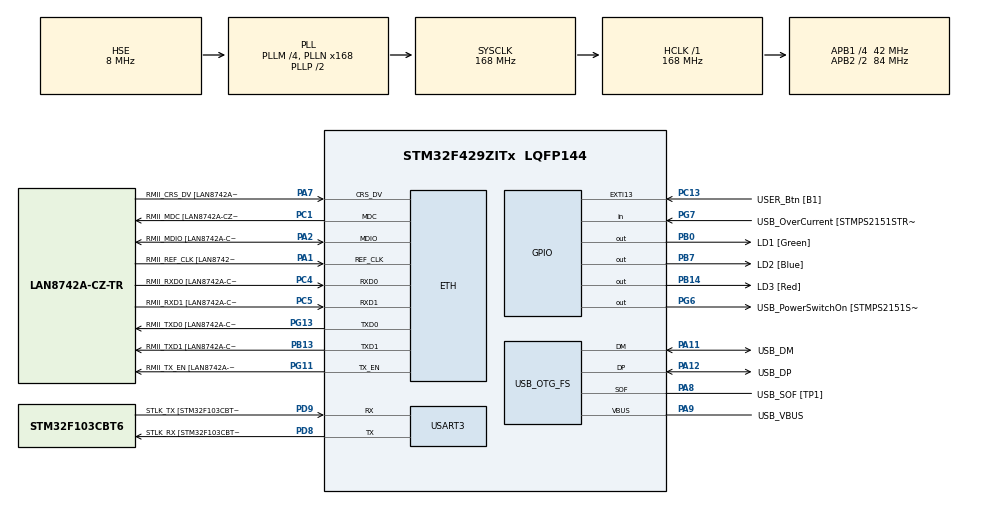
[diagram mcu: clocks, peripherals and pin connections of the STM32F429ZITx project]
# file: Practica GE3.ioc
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ETH.MediaInterface=HAL_ETH_RMII_MODE
ETH.PHY_Name=LAN8742A_PHY_ADDRESS
ETH.PHY_Value=0
ETH.PhyAddress=0
Mcu.Family=STM32F4
Mcu.Name=STM32F429ZITx
Mcu.Package=LQFP144
NVIC.PriorityGroup=NVIC_PRIORITYGROUP_4
PA1.GPIO_Label=RMII_REF_CLK [LAN8742A-CZ-TR_REFCLK0]
PA1.Mode=RMII
PA1.Signal=ETH_REF_CLK
PA10.GPIO_Label=USB_ID
PA10.Signal=USB_OTG_FS_ID
PA11.GPIO_Label=USB_DM
PA11.Mode=Device_Only
PA11.Signal=USB_OTG_FS_DM
PA12.GPIO_Label=USB_DP
PA12.Mode=Device_Only
PA12.Signal=USB_OTG_FS_DP
PA13.GPIO_Label=TMS
PA13.Mode=Serial_Wire
PA13.Signal=SYS_JTMS-SWDIO
PA14.GPIO_Label=TCK
PA14.Mode=Serial_Wire
PA14.Signal=SYS_JTCK-SWCLK
PA2.GPIO_Label=RMII_MDIO [LAN8742A-CZ-TR_MDIO]
PA2.Mode=RMII
PA2.Signal=ETH_MDIO
PA7.GPIO_Label=RMII_CRS_DV [LAN8742A-CZ-TR_CRS_DV]
PA7.Mode=RMII
PA7.Signal=ETH_CRS_DV
PA8.GPIO_Label=USB_SOF [TP1]
PA8.Mode=Activate_SOF_FS
PA8.Signal=USB_OTG_FS_SOF
PA9.GPIO_Label=USB_VBUS
PA9.Mode=Activate_VBUS
PA9.Signal=USB_OTG_FS_VBUS
PB0.GPIO_Label=LD1 [Green]
PB0.Signal=GPIO_Output
PB13.GPIO_Label=RMII_TXD1 [LAN8742A-CZ-TR_TXD1]
PB13.Mode=RMII
PB13.Signal=ETH_TXD1
PB14.GPIO_Label=LD3 [Red]
PB14.Signal=GPIO_Output
PB7.GPIO_Label=LD2 [Blue]
PB7.Signal=GPIO_Output
PC1.GPIO_Label=RMII_MDC [LAN8742A-CZ-TR_MDC]
PC1.Mode=RMII
PC1.Signal=ETH_MDC
PC13.GPIO_Label=USER_Btn [B1]
PC13.Signal=GPXTI13
PC14/OSC32_IN.Mode=LSE-External-Oscillator
PC14/OSC32_IN.Signal=RCC_OSC32_IN
PC15/OSC32_OUT.Mode=LSE-External-Oscillator
PC15/OSC32_OUT.Signal=RCC_OSC32_OUT
PC4.GPIO_Label=RMII_RXD0 [LAN8742A-CZ-TR_RXD0]
PC4.Mode=RMII
PC4.Signal=ETH_RXD0
PC5.GPIO_Label=RMII_RXD1 [LAN8742A-CZ-TR_RXD1]
PC5.Mode=RMII
PC5.Signal=ETH_RXD1
PD8.GPIO_Label=STLK_RX [STM32F103CBT6_PA3]
PD8.Mode=Asynchronous
PD8.Signal=USART3_TX
PD9.GPIO_Label=STLK_TX [STM32F103CBT6_PA2]
PD9.Mode=Asynchronous
PD9.Signal=USART3_RX
PG11.GPIO_Label=RMII_TX_EN [LAN8742A-CZ-TR_TXEN]
PG11.Mode=RMII
PG11.Signal=ETH_TX_EN
PG13.GPIO_Label=RMII_TXD0 [LAN8742A-CZ-TR_TXD0]
PG13.Mode=RMII
PG13.Signal=ETH_TXD0
PG6.GPIO_Label=USB_PowerSwitchOn [STMPS2151STR_EN]
PG6.Signal=GPIO_Output
PG7.GPIO_Label=USB_OverCurrent [STMPS2151STR_FAULT]
PG7.Signal=GPIO_Input
PH0/OSC_IN.GPIO_Label=MCO [STM32F103CBT6_PA8]
PH0/OSC_IN.Mode=HSE-External-Clock-Source
PH0/OSC_IN.Signal=RCC_OSC_IN
PH1/OSC_OUT.Mode=HSE-External-Clock-Source
PH1/OSC_OUT.Signal=RCC_OSC_OUT
ProjectManager.HeapSize=0x200
ProjectManager.StackSize=0x400
ProjectManager.TargetToolchain=STM32CubeIDE
RCC.48MHZClocksFreq_Value=48000000
RCC.AHBFreq_Value=168000000
RCC.APB1CLKDivider=RCC_HCLK_DIV4
RCC.APB1Freq_Value=42000000
RCC.APB1TimFreq_Value=84000000
RCC.APB2CLKDivider=RCC_HCLK_DIV2
RCC.APB2Freq_Value=84000000
RCC.APB2TimCLKDivider=2
RCC.APB2TimFreq_Value=168000000
RCC.CortexFreq_Value=168000000
RCC.HCLKFreq_Value=168000000
RCC.HSE_VALUE=8000000
RCC.HSI_VALUE=16000000
RCC.PLLM=4
RCC.PLLMUL=RCC_PLL_MUL9
RCC.PLLN=168
RCC.PLLQ=7
RCC.PRESCALERUSB=RCC_USBCLKSOURCE_PLL_DIV1_5
RCC.SYSCLKFreq_VALUE=168000000
RCC.SYSCLKSource=RCC_SYSCLKSOURCE_PLLCLK
RCC.SYSCLKSourceVirtual=RCC_SYSCLKSOURCE_PLLCLK
RCC.USBFreq_Value=48000000
RCC.VCOOutputFreq_Value=336000000
USART3.VirtualMode=VM_ASYNC
USB_OTG_FS.VirtualMode=Device_Only
board=NUCLEO-F429ZI

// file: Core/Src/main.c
/* USER CODE BEGIN Header */
/**
  ******************************************************************************
  * @file           : main.c
  * @brief          : Main program body
  ******************************************************************************
  * @attention
  *
  * Copyright (c) 2024 STMicroelectronics.
  * All rights reserved.
  *
  * This software is licensed under terms that can be found in the LICENSE file
  * in the root directory of this software component.
  * If no LICENSE file comes with this software, it is provided AS-IS.
  *
  ******************************************************************************
  */
/* USER CODE END Header */
#include "main.h"
#include "string.h"

ETH_TxPacketConfig TxConfig;
ETH_DMADescTypeDef  DMARxDscrTab[ETH_RX_DESC_CNT]; /* Ethernet Rx DMA Descriptors */
ETH_DMADescTypeDef  DMATxDscrTab[ETH_TX_DESC_CNT]; /* Ethernet Tx DMA Descriptors */

ETH_HandleTypeDef heth;

UART_HandleTypeDef huart3;

PCD_HandleTypeDef hpcd_USB_OTG_FS;

void SystemClock_Config(void);
static void MX_GPIO_Init(void);
static void MX_ETH_Init(void);
static void MX_USART3_UART_Init(void);
static void MX_USB_OTG_FS_PCD_Init(void);

int main(void)
{

  /* USER CODE BEGIN 1 */
	DWT->CTRL |= 1 << DWT_CTRL_CYCCNTENA_Pos;
	/* ----------- Ejercicio 1 ----------- */
	int16_t  vecIn[] = {2, -2, -4, 4};
	uint32_t longitud = sizeof(vecIn) / sizeof(vecIn[0]);
	uint32_t rta1_C = 0, rta1_ASM = 0, rta1_DSP = 0;

	DWT->CYCCNT = 0;
	rta1_C = potencia(vecIn, longitud);
    uint32_t Ciclos_C = DWT->CYCCNT;

    DWT->CYCCNT = 0;
    rta1_ASM = asm_potencia(vecIn, longitud);
    uint32_t Ciclos_ASM = DWT->CYCCNT;

    DWT->CYCCNT = 0;
    rta1_DSP = asm_potencia_DSP(vecIn, longitud);
    uint32_t Ciclos_DSP = DWT->CYCCNT;
	/* ----------- Ejercicio 1 ----------- */

	/* ----------- Ejercicio 2 ----------- */
    DWT->CTRL |= 1 << DWT_CTRL_CYCCNTENA_Pos;
    int8_t x [] = { 4,4,4,4,8,8,8,8 };
    int8_t y [] = { 8,8,8,8,4,4,4,4 };
    int8_t e1 [] = { 0,0,0,0,0,0,0,0 };
    int8_t e2 [] = { 0,0,0,0,0,0,0,0 };
    int8_t e3 [] = { 0,0,0,0,0,0,0,0 };
	uint16_t longitud2 = sizeof(x) / sizeof(x[0]);
	uint32_t rta2_C = 0, rta2_ASM = 0, rta2_DSP = 0;
	Ciclos_C = Ciclos_ASM = Ciclos_DSP = 0;

	DWT->CYCCNT = 0;
	medDif(e1, x, y, longitud2);
	Ciclos_C = DWT->CYCCNT;

	DWT->CYCCNT = 0;
	asm_medDif(e2, x, y, longitud2);
	Ciclos_ASM = DWT->CYCCNT;

	DWT->CYCCNT = 0;
	asm_medDif_DSP(e3, x, y, longitud2);
	Ciclos_DSP = DWT->CYCCNT;

	/* ----------- Ejercicio 2 ----------- */

	/* ----------- Ejercicio 3 ----------- */
    DWT->CTRL |= 1 << DWT_CTRL_CYCCNTENA_Pos;
    int16_t signal[4096]  = {0};
    int16_t signal_C[4096] = {0};
    int16_t signal_ASM[4096] = {0};
    int16_t signal_DSP[4096] = {0};
    uint32_t longitud3   =  sizeof(signal) / sizeof(signal[0]);

    for (uint32_t i=0 ; i < longitud3; i++) {
    	signal[i]= 10;
    }

	DWT->CYCCNT = 0;
	eco(signal, signal_C, longitud3);
	Ciclos_C = DWT->CYCCNT;

 	DWT->CYCCNT = 0;
 	asm_eco(signal, signal_ASM, longitud3);
	Ciclos_ASM = DWT->CYCCNT;

	DWT->CYCCNT = 0;
	asm_eco_DSP(signal, signal_DSP, longitud3);
	Ciclos_DSP = DWT->CYCCNT;
	/* ----------- Ejercicio 3 ----------- */

  /* USER CODE END 1 */

  /* MCU Configuration--------------------------------------------------------*/

  /* Reset of all peripherals, Initializes the Flash interface and the Systick. */
  HAL_Init();

  /* Configure the system clock */
  SystemClock_Config();

  /* Initialize all configured peripherals */
  MX_GPIO_Init();
  MX_ETH_Init();
  MX_USART3_UART_Init();
  MX_USB_OTG_FS_PCD_Init();

  /* Infinite loop */
  while (1)
  {

  }
}

void SystemClock_Config(void)
{
  RCC_OscInitTypeDef RCC_OscInitStruct = {0};
  RCC_ClkInitTypeDef RCC_ClkInitStruct = {0};

  /** Configure the main internal regulator output voltage
  */
  __HAL_RCC_PWR_CLK_ENABLE();
  __HAL_PWR_VOLTAGESCALING_CONFIG(PWR_REGULATOR_VOLTAGE_SCALE1);

  /** Initializes the RCC Oscillators according to the specified parameters
  * in the RCC_OscInitTypeDef structure.
  */
  RCC_OscInitStruct.OscillatorType = RCC_OSCILLATORTYPE_HSE;
  RCC_OscInitStruct.HSEState = RCC_HSE_BYPASS;
  RCC_OscInitStruct.PLL.PLLState = RCC_PLL_ON;
  RCC_OscInitStruct.PLL.PLLSource = RCC_PLLSOURCE_HSE;
  RCC_OscInitStruct.PLL.PLLM = 4;
  RCC_OscInitStruct.PLL.PLLN = 168;
  RCC_OscInitStruct.PLL.PLLP = RCC_PLLP_DIV2;
  RCC_OscInitStruct.PLL.PLLQ = 7;
  if (HAL_RCC_OscConfig(&RCC_OscInitStruct) != HAL_OK)
  {
    Error_Handler();
  }

  /** Initializes the CPU, AHB and APB buses clocks
  */
  RCC_ClkInitStruct.ClockType = RCC_CLOCKTYPE_HCLK|RCC_CLOCKTYPE_SYSCLK
                              |RCC_CLOCKTYPE_PCLK1|RCC_CLOCKTYPE_PCLK2;
  RCC_ClkInitStruct.SYSCLKSource = RCC_SYSCLKSOURCE_PLLCLK;
  RCC_ClkInitStruct.AHBCLKDivider = RCC_SYSCLK_DIV1;
  RCC_ClkInitStruct.APB1CLKDivider = RCC_HCLK_DIV4;
  RCC_ClkInitStruct.APB2CLKDivider = RCC_HCLK_DIV2;

  if (HAL_RCC_ClockConfig(&RCC_ClkInitStruct, FLASH_LATENCY_5) != HAL_OK)
  {
    Error_Handler();
  }
}

static void MX_ETH_Init(void)
{

   static uint8_t MACAddr[6];

  heth.Instance = ETH;
  MACAddr[0] = 0x00;
  MACAddr[1] = 0x80;
  MACAddr[2] = 0xE1;
  MACAddr[3] = 0x00;
  MACAddr[4] = 0x00;
  MACAddr[5] = 0x00;
  heth.Init.MACAddr = &MACAddr[0];
  heth.Init.MediaInterface = HAL_ETH_RMII_MODE;
  heth.Init.TxDesc = DMATxDscrTab;
  heth.Init.RxDesc = DMARxDscrTab;
  heth.Init.RxBuffLen = 1524;

  if (HAL_ETH_Init(&heth) != HAL_OK)
  {
    Error_Handler();
  }

  memset(&TxConfig, 0 , sizeof(ETH_TxPacketConfig));
  TxConfig.Attributes = ETH_TX_PACKETS_FEATURES_CSUM | ETH_TX_PACKETS_FEATURES_CRCPAD;
  TxConfig.ChecksumCtrl = ETH_CHECKSUM_IPHDR_PAYLOAD_INSERT_PHDR_CALC;
  TxConfig.CRCPadCtrl = ETH_CRC_PAD_INSERT;

}

static void MX_USART3_UART_Init(void)
{

  huart3.Instance = USART3;
  huart3.Init.BaudRate = 115200;
  huart3.Init.WordLength = UART_WORDLENGTH_8B;
  huart3.Init.StopBits = UART_STOPBITS_1;
  huart3.Init.Parity = UART_PARITY_NONE;
  huart3.Init.Mode = UART_MODE_TX_RX;
  huart3.Init.HwFlowCtl = UART_HWCONTROL_NONE;
  huart3.Init.OverSampling = UART_OVERSAMPLING_16;
  if (HAL_UART_Init(&huart3) != HAL_OK)
  {
    Error_Handler();
  }

}

static void MX_USB_OTG_FS_PCD_Init(void)
{

  hpcd_USB_OTG_FS.Instance = USB_OTG_FS;
  hpcd_USB_OTG_FS.Init.dev_endpoints = 4;
  hpcd_USB_OTG_FS.Init.speed = PCD_SPEED_FULL;
  hpcd_USB_OTG_FS.Init.dma_enable = DISABLE;
  hpcd_USB_OTG_FS.Init.phy_itface = PCD_PHY_EMBEDDED;
  hpcd_USB_OTG_FS.Init.Sof_enable = ENABLE;
  hpcd_USB_OTG_FS.Init.low_power_enable = DISABLE;
  hpcd_USB_OTG_FS.Init.lpm_enable = DISABLE;
  hpcd_USB_OTG_FS.Init.vbus_sensing_enable = ENABLE;
  hpcd_USB_OTG_FS.Init.use_dedicated_ep1 = DISABLE;
  if (HAL_PCD_Init(&hpcd_USB_OTG_FS) != HAL_OK)
  {
    Error_Handler();
  }

}

static void MX_GPIO_Init(void)
{
  GPIO_InitTypeDef GPIO_InitStruct = {0};

  /* GPIO Ports Clock Enable */
  __HAL_RCC_GPIOC_CLK_ENABLE();
  __HAL_RCC_GPIOH_CLK_ENABLE();
  __HAL_RCC_GPIOA_CLK_ENABLE();
  __HAL_RCC_GPIOB_CLK_ENABLE();
  __HAL_RCC_GPIOD_CLK_ENABLE();
  __HAL_RCC_GPIOG_CLK_ENABLE();

  /*Configure GPIO pin Output Level */
  HAL_GPIO_WritePin(GPIOB, LD1_Pin|LD3_Pin|LD2_Pin, GPIO_PIN_RESET);

  /*Configure GPIO pin Output Level */
  HAL_GPIO_WritePin(USB_PowerSwitchOn_GPIO_Port, USB_PowerSwitchOn_Pin, GPIO_PIN_RESET);

  /*Configure GPIO pin : USER_Btn_Pin */
  GPIO_InitStruct.Pin = USER_Btn_Pin;
  GPIO_InitStruct.Mode = GPIO_MODE_IT_RISING;
  GPIO_InitStruct.Pull = GPIO_NOPULL;
  HAL_GPIO_Init(USER_Btn_GPIO_Port, &GPIO_InitStruct);

  /*Configure GPIO pins : LD1_Pin LD3_Pin LD2_Pin */
  GPIO_InitStruct.Pin = LD1_Pin|LD3_Pin|LD2_Pin;
  GPIO_InitStruct.Mode = GPIO_MODE_OUTPUT_PP;
  GPIO_InitStruct.Pull = GPIO_NOPULL;
  GPIO_InitStruct.Speed = GPIO_SPEED_FREQ_LOW;
  HAL_GPIO_Init(GPIOB, &GPIO_InitStruct);

  /*Configure GPIO pin : USB_PowerSwitchOn_Pin */
  GPIO_InitStruct.Pin = USB_PowerSwitchOn_Pin;
  GPIO_InitStruct.Mode = GPIO_MODE_OUTPUT_PP;
  GPIO_InitStruct.Pull = GPIO_NOPULL;
  GPIO_InitStruct.Speed = GPIO_SPEED_FREQ_LOW;
  HAL_GPIO_Init(USB_PowerSwitchOn_GPIO_Port, &GPIO_InitStruct);

  /*Configure GPIO pin : USB_OverCurrent_Pin */
  GPIO_InitStruct.Pin = USB_OverCurrent_Pin;
  GPIO_InitStruct.Mode = GPIO_MODE_INPUT;
  GPIO_InitStruct.Pull = GPIO_NOPULL;
  HAL_GPIO_Init(USB_OverCurrent_GPIO_Port, &GPIO_InitStruct);

}

void Error_Handler(void)
{
  __disable_irq();
  while (1)
  {
  }
}
